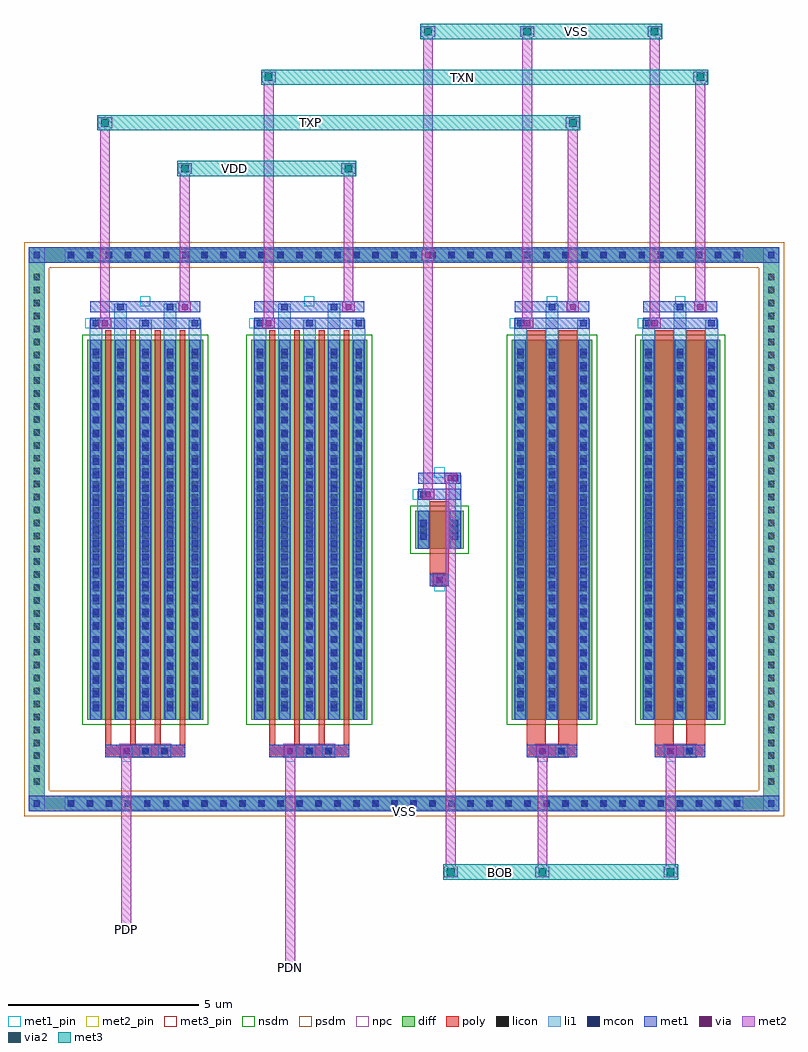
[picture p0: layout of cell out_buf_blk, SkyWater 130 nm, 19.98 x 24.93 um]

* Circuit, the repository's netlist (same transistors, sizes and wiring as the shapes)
.subckt out_buf_blk VDD TXP TXN VSS BOB PDP PDN
XOFP VDD PDP TXP VSS sky130_fd_pr__nfet_01v8 W=40 L=0.15 nf=4 m=1
XOFN VDD PDN TXN VSS sky130_fd_pr__nfet_01v8 W=40 L=0.15 nf=4 m=1
XOBB BOB BOB VSS VSS sky130_fd_pr__nfet_01v8 W=1 L=0.5 nf=1 m=1
XOSP TXP BOB VSS VSS sky130_fd_pr__nfet_01v8 W=20 L=0.5 nf=2 m=1
XOSN TXN BOB VSS VSS sky130_fd_pr__nfet_01v8 W=20 L=0.5 nf=2 m=1
.ends out_buf_blk

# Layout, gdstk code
import gdstk
lib = gdstk.Library(unit=1e-6, precision=5e-09)
def R(c, l, rs):  # rectangles x0, y0, x1, y1
    for r in rs: c.add(gdstk.rectangle(r[:2], r[2:], *l))
def A(c, l, x, y, w, h, nx, ny, dx, dy):  # array of equal rectangles
    R(c, l, [(x+i*dx, y+j*dy, x+i*dx+w, y+j*dy+h) for i in range(nx) for j in range(ny)])
def P(c, l, *ps):  # polygons
    for p in ps: c.add(gdstk.Polygon(p, *l))
diff = (65, 20)
poly = (66, 20)
licon = (66, 44)
li1 = (67, 20)
mcon = (67, 44)
met1_pin = (68, 16)
met1 = (68, 20)
via = (68, 44)
met2_pin = (69, 16)
met2 = (69, 20)
via2 = (69, 44)
met3_pin = (70, 16)
met3 = (70, 20)
nsdm = (93, 44)
psdm = (94, 20)
npc = (95, 20)

out_buf_blk = lib.new_cell('out_buf_blk')
A(out_buf_blk, diff, -0.495, -7.405, 0.41, 0.41, 36, 2, 0.5, 14.42)
A(out_buf_blk, diff, -1.4, -6.825, 0.41, 0.41, 1, 40, 0, 0.34)
A(out_buf_blk, diff, 17.91, -6.825, 0.41, 0.41, 1, 40, 0, 0.34)
R(out_buf_blk, diff, [(-0.495,-7.405,17.415,-6.995), (-1.4,-6.825,-0.99,6.845), (17.91,-6.825,18.32,6.845), (0.135,-5,3.185,5), (4.445,-5,7.495,5), (11.295,-5,13.405,5), (14.665,-5,16.775,5), (8.75,-0.5,10.03,0.5), (-0.495,7.015,17.415,7.425)])
P(out_buf_blk, diff, [(18.32,7.425),(-1.4,7.425),(-1.4,-6.995),(-0.99,-6.995),(-0.99,7.015),(17.91,7.015),(17.91,-6.995),(-0.99,-6.995),(-1.4,-6.995),(-1.4,-7.405),(18.32,-7.405)])
A(out_buf_blk, poly, 0.995, -5.98, 0.33, 0.33, 3, 1, 0.5, 0)
A(out_buf_blk, poly, 5.305, -5.98, 0.33, 0.33, 3, 1, 0.5, 0)
A(out_buf_blk, poly, 0.61, -5.65, 0.15, 0.4, 4, 1, 0.65, 0)
A(out_buf_blk, poly, 4.92, -5.65, 0.15, 0.4, 4, 1, 0.65, 0)
A(out_buf_blk, poly, 0.61, -5.25, 0.15, 10.5, 4, 1, 0.65, 0)
A(out_buf_blk, poly, 4.92, -5.25, 0.15, 10.5, 4, 1, 0.65, 0)
R(out_buf_blk, poly, [(0.61,-5.98,2.71,-5.65), (4.92,-5.98,7.02,-5.65), (11.685,-5.98,13.015,-5.65), (11.935,-5.98,12.265,-5.65), (12.435,-5.98,12.765,-5.65), (15.055,-5.98,16.385,-5.65), (15.305,-5.98,15.635,-5.65), (15.805,-5.98,16.135,-5.65), (11.685,-5.65,12.185,-5.25), (12.515,-5.65,13.015,-5.25), (15.055,-5.65,15.555,-5.25), (15.885,-5.65,16.385,-5.25), (11.685,-5.25,12.185,5.25), (12.515,-5.25,13.015,5.25), (15.055,-5.25,15.555,5.25), (15.885,-5.25,16.385,5.25), (9.14,-1.48,9.64,-1.15), (9.225,-1.48,9.555,-1.15), (9.14,-1.15,9.64,-0.75), (9.14,-0.75,9.64,0.75)])
A(out_buf_blk, licon, -0.375, -7.285, 0.17, 0.17, 36, 2, 0.5, 14.42)
A(out_buf_blk, licon, -1.28, -6.705, 0.17, 0.17, 1, 40, 0, 0.34)
A(out_buf_blk, licon, 18.03, -6.705, 0.17, 0.17, 1, 40, 0, 0.34)
A(out_buf_blk, licon, 1.075, -5.9, 0.17, 0.17, 3, 1, 0.5, 0)
A(out_buf_blk, licon, 5.385, -5.9, 0.17, 0.17, 3, 1, 0.5, 0)
A(out_buf_blk, licon, 0.275, -4.675, 0.17, 0.17, 5, 28, 0.65, 0.34)
A(out_buf_blk, licon, 4.585, -4.675, 0.17, 0.17, 5, 28, 0.65, 0.34)
A(out_buf_blk, licon, 11.435, -4.675, 0.17, 0.17, 3, 28, 0.83, 0.34)
A(out_buf_blk, licon, 14.805, -4.675, 0.17, 0.17, 3, 28, 0.83, 0.34)
R(out_buf_blk, licon, [(12.015,-5.9,12.185,-5.73), (12.515,-5.9,12.685,-5.73), (15.385,-5.9,15.555,-5.73), (15.885,-5.9,16.055,-5.73), (9.305,-1.4,9.475,-1.23), (8.89,-0.085,9.06,0.085), (9.72,-0.085,9.89,0.085)])
A(out_buf_blk, li1, -0.455, -7.365, 0.33, 0.33, 36, 2, 0.5, 14.42)
A(out_buf_blk, li1, -1.36, -6.785, 0.33, 0.33, 1, 40, 0, 0.34)
A(out_buf_blk, li1, 17.95, -6.785, 0.33, 0.33, 1, 40, 0, 0.34)
A(out_buf_blk, li1, 0.995, -5.98, 0.33, 0.33, 3, 1, 0.5, 0)
A(out_buf_blk, li1, 5.305, -5.98, 0.33, 0.33, 3, 1, 0.5, 0)
A(out_buf_blk, li1, 0.195, -5, 0.33, 10, 5, 1, 0.65, 0)
A(out_buf_blk, li1, 4.505, -5, 0.33, 10, 5, 1, 0.65, 0)
A(out_buf_blk, li1, 11.355, -5, 0.33, 10, 3, 1, 0.83, 0)
A(out_buf_blk, li1, 14.725, -5, 0.33, 10, 3, 1, 0.83, 0)
A(out_buf_blk, li1, 0.275, -4.765, 0.17, 0.17, 5, 27, 0.65, 0.36)
A(out_buf_blk, li1, 0.275, -4.765, 0.17, 9.53, 5, 1, 0.65, 0)
A(out_buf_blk, li1, 4.585, -4.765, 0.17, 0.17, 5, 27, 0.65, 0.36)
A(out_buf_blk, li1, 4.585, -4.765, 0.17, 9.53, 5, 1, 0.65, 0)
A(out_buf_blk, li1, 11.435, -4.765, 0.17, 0.17, 3, 27, 0.83, 0.36)
A(out_buf_blk, li1, 11.435, -4.765, 0.17, 9.53, 3, 1, 0.83, 0)
A(out_buf_blk, li1, 14.805, -4.765, 0.17, 0.17, 3, 27, 0.83, 0.36)
A(out_buf_blk, li1, 14.805, -4.765, 0.17, 9.53, 3, 1, 0.83, 0)
A(out_buf_blk, li1, 0.195, -4.755, 0.33, 0.33, 5, 28, 0.65, 0.34)
A(out_buf_blk, li1, 4.505, -4.755, 0.33, 0.33, 5, 28, 0.65, 0.34)
A(out_buf_blk, li1, 11.355, -4.755, 0.33, 0.33, 3, 28, 0.83, 0.34)
A(out_buf_blk, li1, 14.725, -4.755, 0.33, 0.33, 3, 28, 0.83, 0.34)
A(out_buf_blk, li1, 0.195, 5, 0.33, 0.515, 3, 1, 1.3, 0)
A(out_buf_blk, li1, 4.505, 5, 0.33, 0.515, 3, 1, 1.3, 0)
A(out_buf_blk, li1, 0.275, 5.345, 0.17, 0.17, 3, 1, 1.3, 0)
A(out_buf_blk, li1, 4.585, 5.345, 0.17, 0.17, 3, 1, 1.3, 0)
R(out_buf_blk, li1, [(-1.4,-7.405,-0.99,-6.995), (17.91,-7.405,18.32,-6.995), (-0.455,-7.365,17.375,-7.035), (-1.28,-7.285,-1.11,-7.115), (-1.28,-7.285,-1.11,-7.115), (18.03,-7.285,18.2,-7.115), (18.03,-7.285,18.2,-7.115), (-1.4,-6.995,-0.99,7.015), (17.91,-6.995,18.32,7.015), (11.935,-5.98,12.265,-5.65), (12.435,-5.98,12.765,-5.65), (15.305,-5.98,15.635,-5.65), (15.805,-5.98,16.135,-5.65), (9.225,-1.48,9.555,-1.15), (8.81,-0.5,9.14,0.5), (9.64,-0.5,9.97,0.5), (8.89,-0.265,9.06,-0.095), (8.89,-0.265,9.06,0.265), (9.72,-0.265,9.89,-0.095), (9.72,-0.265,9.89,0.265), (8.81,-0.165,9.14,0.165), (9.64,-0.165,9.97,0.165), (8.89,0.095,9.06,0.265), (9.72,0.095,9.89,0.265), (8.81,0.5,9.14,1.015), (9.64,0.5,9.97,1.445), (8.89,0.845,9.06,1.015), (9.72,1.275,9.89,1.445), (0.845,5,1.175,5.945), (2.145,5,2.475,5.945), (5.155,5,5.485,5.945), (6.455,5,6.785,5.945), (11.355,5,11.685,5.515), (12.185,5,12.515,5.945), (13.015,5,13.345,5.515), (14.725,5,15.055,5.515), (15.555,5,15.885,5.945), (16.385,5,16.715,5.515), (11.435,5.345,11.605,5.515), (13.095,5.345,13.265,5.515), (14.805,5.345,14.975,5.515), (16.465,5.345,16.635,5.515), (0.925,5.775,1.095,5.945), (2.225,5.775,2.395,5.945), (5.235,5.775,5.405,5.945), (6.535,5.775,6.705,5.945), (12.265,5.775,12.435,5.945), (15.635,5.775,15.805,5.945), (-1.4,7.015,-0.99,7.425), (17.91,7.015,18.32,7.425), (-0.455,7.055,17.375,7.385), (-1.28,7.135,-1.11,7.305), (-1.28,7.135,-1.11,7.305), (18.03,7.135,18.2,7.305), (18.03,7.135,18.2,7.305)])
A(out_buf_blk, mcon, -0.375, -7.285, 0.17, 0.17, 36, 2, 0.5, 14.42)
A(out_buf_blk, mcon, 1.075, -5.9, 0.17, 0.17, 3, 1, 0.5, 0)
A(out_buf_blk, mcon, 5.385, -5.9, 0.17, 0.17, 3, 1, 0.5, 0)
A(out_buf_blk, mcon, 0.275, -4.765, 0.17, 0.17, 5, 27, 0.65, 0.36)
A(out_buf_blk, mcon, 4.585, -4.765, 0.17, 0.17, 5, 27, 0.65, 0.36)
A(out_buf_blk, mcon, 11.435, -4.765, 0.17, 0.17, 3, 27, 0.83, 0.36)
A(out_buf_blk, mcon, 14.805, -4.765, 0.17, 0.17, 3, 27, 0.83, 0.36)
A(out_buf_blk, mcon, 0.275, 5.345, 0.17, 0.17, 3, 1, 1.3, 0)
A(out_buf_blk, mcon, 4.585, 5.345, 0.17, 0.17, 3, 1, 1.3, 0)
R(out_buf_blk, mcon, [(-1.28,-7.285,-1.11,-7.115), (18.03,-7.285,18.2,-7.115), (12.015,-5.9,12.185,-5.73), (12.515,-5.9,12.685,-5.73), (15.385,-5.9,15.555,-5.73), (15.885,-5.9,16.055,-5.73), (9.305,-1.4,9.475,-1.23), (8.89,-0.265,9.06,-0.095), (9.72,-0.265,9.89,-0.095), (8.89,0.095,9.06,0.265), (9.72,0.095,9.89,0.265), (8.89,0.845,9.06,1.015), (9.72,1.275,9.89,1.445), (11.435,5.345,11.605,5.515), (13.095,5.345,13.265,5.515), (14.805,5.345,14.975,5.515), (16.465,5.345,16.635,5.515), (0.925,5.775,1.095,5.945), (2.225,5.775,2.395,5.945), (5.235,5.775,5.405,5.945), (6.535,5.775,6.705,5.945), (12.265,5.775,12.435,5.945), (15.635,5.775,15.805,5.945), (-1.28,7.135,-1.11,7.305), (18.03,7.135,18.2,7.305)])
R(out_buf_blk, met1_pin, [(8.325,-7.54,8.595,-7.27), (1.025,-6.095,1.295,-5.825), (5.335,-6.095,5.605,-5.825), (11.965,-6.095,12.235,-5.825), (15.335,-6.095,15.605,-5.825), (9.255,-1.615,9.525,-1.345), (8.695,0.795,8.965,1.065), (9.255,1.37,9.525,1.64), (0.08,5.295,0.35,5.565), (4.39,5.295,4.66,5.565), (11.24,5.295,11.51,5.565), (14.61,5.295,14.88,5.565), (1.525,5.87,1.795,6.14), (5.835,5.87,6.105,6.14), (12.215,5.87,12.485,6.14), (15.585,5.87,15.855,6.14)])
A(out_buf_blk, met1, -0.435, -7.345, 0.29, 0.29, 36, 2, 0.5, 14.42)
A(out_buf_blk, met1, 1.015, -5.96, 0.29, 0.29, 3, 1, 0.5, 0)
A(out_buf_blk, met1, 5.325, -5.96, 0.29, 0.29, 3, 1, 0.5, 0)
A(out_buf_blk, met1, 0.215, -5, 0.29, 10, 5, 1, 0.65, 0)
A(out_buf_blk, met1, 4.525, -5, 0.29, 10, 5, 1, 0.65, 0)
A(out_buf_blk, met1, 11.375, -5, 0.29, 10, 3, 1, 0.83, 0)
A(out_buf_blk, met1, 14.745, -5, 0.29, 10, 3, 1, 0.83, 0)
A(out_buf_blk, met1, 0.215, -4.825, 0.29, 0.29, 5, 27, 0.65, 0.36)
A(out_buf_blk, met1, 4.525, -4.825, 0.29, 0.29, 5, 27, 0.65, 0.36)
A(out_buf_blk, met1, 11.375, -4.825, 0.29, 0.29, 3, 27, 0.83, 0.36)
A(out_buf_blk, met1, 14.745, -4.825, 0.29, 0.29, 3, 27, 0.83, 0.36)
A(out_buf_blk, met1, 0.215, 5.285, 0.29, 0.29, 3, 1, 1.3, 0)
A(out_buf_blk, met1, 4.525, 5.285, 0.29, 0.29, 3, 1, 1.3, 0)
R(out_buf_blk, met1, [(-1.4,-7.405,-0.99,-6.995), (-1.4,-7.405,-0.99,-6.995), (-0.99,-7.405,17.91,-6.995), (17.91,-7.405,18.32,-6.995), (17.91,-7.405,18.32,-6.995), (-1.34,-7.345,-1.05,-7.055), (17.97,-7.345,18.26,-7.055), (0.61,-5.98,2.71,-5.65), (4.92,-5.98,7.02,-5.65), (11.685,-5.98,13.015,-5.65), (15.055,-5.98,16.385,-5.65), (11.955,-5.96,12.245,-5.67), (12.455,-5.96,12.745,-5.67), (15.325,-5.96,15.615,-5.67), (15.825,-5.96,16.115,-5.67), (9.14,-1.48,9.64,-1.15), (9.245,-1.46,9.535,-1.17), (8.83,-0.5,9.12,0.5), (9.66,-0.5,9.95,0.5), (8.83,-0.325,9.12,-0.035), (9.66,-0.325,9.95,-0.035), (8.83,0.035,9.12,0.325), (9.66,0.035,9.95,0.325), (8.83,0.785,9.12,1.075), (8.83,0.785,9.95,1.075), (8.83,1.215,9.95,1.505), (9.66,1.215,9.95,1.505), (0.215,5.285,3.105,5.575), (4.525,5.285,7.415,5.575), (11.375,5.285,11.665,5.575), (11.375,5.285,13.325,5.575), (13.035,5.285,13.325,5.575), (14.745,5.285,15.035,5.575), (14.745,5.285,16.695,5.575), (16.405,5.285,16.695,5.575), (0.215,5.715,3.105,6.005), (0.865,5.715,1.155,6.005), (2.165,5.715,2.455,6.005), (4.525,5.715,7.415,6.005), (5.175,5.715,5.465,6.005), (6.475,5.715,6.765,6.005), (11.375,5.715,13.325,6.005), (12.205,5.715,12.495,6.005), (14.745,5.715,16.695,6.005), (15.575,5.715,15.865,6.005), (-1.4,7.015,-0.99,7.425), (-1.4,7.015,-0.99,7.425), (-0.99,7.015,17.91,7.425), (17.91,7.015,18.32,7.425), (17.91,7.015,18.32,7.425), (-1.34,7.075,-1.05,7.365), (17.97,7.075,18.26,7.365)])
R(out_buf_blk, via, [(1.085,-5.875,1.235,-5.725), (5.395,-5.875,5.545,-5.725), (12.025,-5.875,12.175,-5.725), (15.395,-5.875,15.545,-5.725), (9.315,-1.395,9.465,-1.245), (9.015,0.855,9.165,1.005), (9.615,1.285,9.765,1.435), (0.525,5.355,0.675,5.505), (4.825,5.355,4.975,5.505), (11.625,5.355,11.775,5.505), (14.975,5.355,15.125,5.505), (2.625,5.785,2.775,5.935), (6.925,5.785,7.075,5.935), (12.825,5.785,12.975,5.935), (16.175,5.785,16.325,5.935), (9.015,7.145,9.165,7.295)])
R(out_buf_blk, met2_pin, [(5.34,-11.63,5.6,-11.37), (1.03,-10.63,1.29,-10.37)])
R(out_buf_blk, met2, [(5.34,-11.63,5.6,-5.67), (1.03,-10.63,1.29,-5.67), (9.505,-9.14,9.875,-8.86), (11.915,-9.14,12.285,-8.86), (15.285,-9.14,15.655,-8.86), (9.56,-9.13,9.82,1.49), (11.97,-9.13,12.23,-5.67), (15.34,-9.13,15.6,-5.67), (1,-5.93,1.32,-5.67), (5.31,-5.93,5.63,-5.67), (11.94,-5.93,12.26,-5.67), (15.31,-5.93,15.63,-5.67), (9.23,-1.45,9.55,-1.19), (9.26,-1.45,9.82,-1.19), (8.93,0.8,9.25,1.06), (8.96,0.805,9.22,13.235), (9.53,1.23,9.85,1.49), (0.47,5.295,0.73,10.825), (4.77,5.295,5.03,12.025), (11.57,5.295,11.83,13.225), (14.92,5.295,15.18,13.225), (0.44,5.3,0.76,5.56), (4.74,5.3,5.06,5.56), (11.54,5.3,11.86,5.56), (14.89,5.3,15.21,5.56), (2.54,5.73,2.86,5.99), (2.57,5.73,2.83,9.63), (6.84,5.73,7.16,5.99), (6.87,5.73,7.13,9.63), (12.74,5.73,13.06,5.99), (12.77,5.73,13.03,10.83), (16.09,5.73,16.41,5.99), (16.12,5.73,16.38,12.03), (8.93,7.09,9.25,7.35), (2.515,9.36,2.885,9.64), (6.815,9.36,7.185,9.64), (0.415,10.56,0.785,10.84), (12.715,10.56,13.085,10.84), (4.715,11.76,5.085,12.04), (16.065,11.76,16.435,12.04), (8.905,12.96,9.275,13.24), (11.515,12.96,11.885,13.24), (14.865,12.96,15.235,13.24)])
R(out_buf_blk, via2, [(9.59,-9.1,9.79,-8.9), (12,-9.1,12.2,-8.9), (15.37,-9.1,15.57,-8.9), (2.6,9.4,2.8,9.6), (6.9,9.4,7.1,9.6), (0.5,10.6,0.7,10.8), (12.8,10.6,13,10.8), (4.8,11.8,5,12), (16.15,11.8,16.35,12), (8.99,13,9.19,13.2), (11.6,13,11.8,13.2), (14.95,13,15.15,13.2)])
R(out_buf_blk, met3_pin, [(10.87,-9.13,11.13,-8.87), (3.87,9.37,4.13,9.63), (5.87,10.57,6.13,10.83), (9.87,11.77,10.13,12.03), (12.87,12.97,13.13,13.23)])
R(out_buf_blk, met3, [(9.49,-9.2,15.67,-8.8), (9.525,-9.165,9.855,-8.835), (11.935,-9.165,12.265,-8.835), (15.305,-9.165,15.635,-8.835), (2.5,9.3,7.2,9.7), (2.535,9.335,2.865,9.665), (6.835,9.335,7.165,9.665), (0.4,10.5,13.1,10.9), (0.435,10.535,0.765,10.865), (12.735,10.535,13.065,10.865), (4.705,11.7,16.455,12.1), (4.735,11.735,5.065,12.065), (16.085,11.735,16.415,12.065), (8.89,12.9,15.25,13.3), (8.925,12.935,9.255,13.265), (11.535,12.935,11.865,13.265), (14.885,12.935,15.215,13.265)])
R(out_buf_blk, nsdm, [(0.005,-5.13,3.315,5.13), (4.315,-5.13,7.625,5.13), (11.165,-5.13,13.535,5.13), (14.535,-5.13,16.905,5.13), (8.62,-0.63,10.16,0.63)])
P(out_buf_blk, psdm, [(18.45,7.555),(-1.53,7.555),(-1.53,-6.865),(-0.86,-6.865),(-0.86,6.885),(17.78,6.885),(17.78,-6.865),(-0.86,-6.865),(-1.53,-6.865),(-1.53,-7.535),(18.45,-7.535)])
A(out_buf_blk, npc, 0.975, -6, 0.37, 0.37, 3, 1, 0.5, 0)
A(out_buf_blk, npc, 5.285, -6, 0.37, 0.37, 3, 1, 0.5, 0)
R(out_buf_blk, npc, [(0.975,-6,1.845,-5.63), (0.975,-6,1.845,-5.63), (1.475,-6,2.345,-5.63), (1.475,-6,2.345,-5.63), (5.285,-6,6.155,-5.63), (5.285,-6,6.155,-5.63), (5.785,-6,6.655,-5.63), (5.785,-6,6.655,-5.63), (11.915,-6,12.285,-5.63), (11.915,-6,12.785,-5.63), (11.915,-6,12.785,-5.63), (12.415,-6,12.785,-5.63), (15.285,-6,15.655,-5.63), (15.285,-6,16.155,-5.63), (15.285,-6,16.155,-5.63), (15.785,-6,16.155,-5.63), (9.205,-1.5,9.575,-1.13), (9.205,-1.5,9.575,-1.13)])
out_buf_blk.add(gdstk.Label('VDD', (4,9.5), layer=70, texttype=5))
out_buf_blk.add(gdstk.Label('TXP', (6,10.7), layer=70, texttype=5))
out_buf_blk.add(gdstk.Label('TXN', (10,11.9), layer=70, texttype=5))
out_buf_blk.add(gdstk.Label('VSS', (13,13.1), layer=70, texttype=5))
out_buf_blk.add(gdstk.Label('BOB', (11,-9), layer=70, texttype=5))
out_buf_blk.add(gdstk.Label('PDP', (1.16,-10.5), layer=69, texttype=5))
out_buf_blk.add(gdstk.Label('PDN', (5.47,-11.5), layer=69, texttype=5))
out_buf_blk.add(gdstk.Label('VSS', (8.46,-7.405), layer=68, texttype=5))

lib.write_gds('out_buf_blk.gds')
